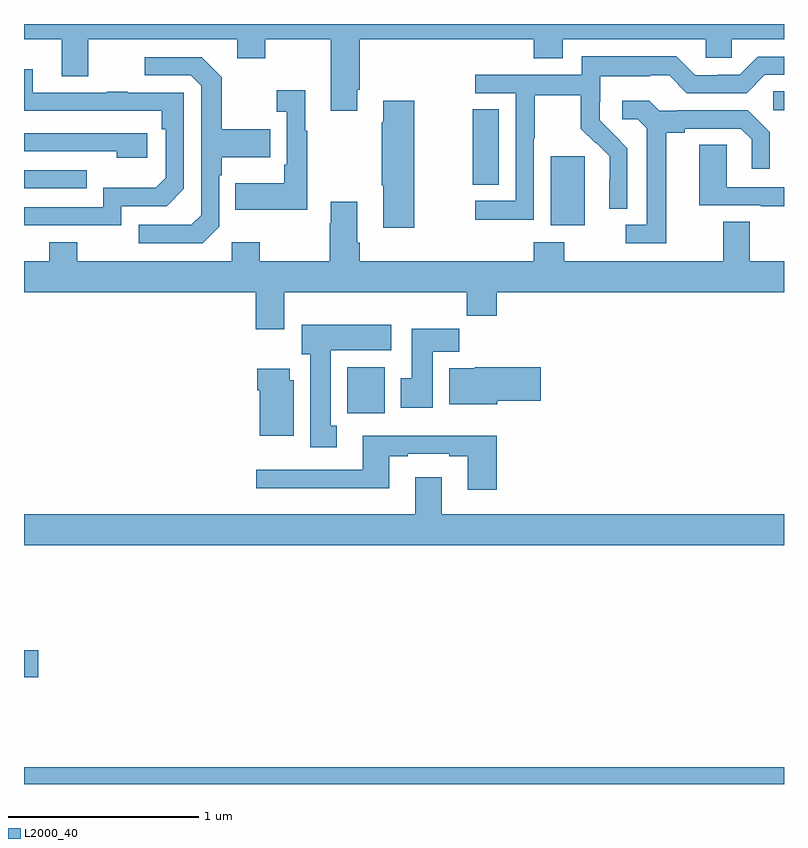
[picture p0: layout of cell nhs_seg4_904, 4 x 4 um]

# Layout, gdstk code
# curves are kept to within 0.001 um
import gdstk
lib = gdstk.Library(unit=1e-6, precision=1e-09)
def R(c, l, rs):  # rectangles x0, y0, x1, y1
    for r in rs: c.add(gdstk.rectangle(r[:2], r[2:], *l))
def P(c, l, *ps):  # polygons
    for p in ps: c.add(gdstk.Polygon(p, *l))
L2000_40 = (2000, 40)

nhs_seg4_904 = lib.new_cell('nhs_seg4_904')
R(nhs_seg4_904, L2000_40, [(157,792.9,161,792.988), (157,793.462,157.075,793.604), (158.702,794.852,158.899,795.094), (159.773,795.842,159.952,796.203), (157,796.035,157.331,796.131), (159.361,796.054,159.499,796.451), (160.944,796.446,161,796.547)])
P(nhs_seg4_904, L2000_40, [(158.755,796.555),(158.768,796.555),(158.768,796.82),(159.683,796.82),(159.683,796.721),(159.835,796.721),(159.835,796.82),(160.587,796.82),(160.587,796.722),(160.725,796.722),(160.725,796.82),(161,796.82),(161,796.9),(157,796.9),(157,796.82),(157.199,796.82),(157.199,796.626),(157.339,796.626),(157.339,796.82),(158.123,796.82),(158.123,796.721),(158.271,796.721),(158.271,796.82),(158.615,796.82),(158.615,796.443),(158.755,796.443)],
  [(159.684,796.3),(159.687,796.3),(159.687,796.524),(159.931,796.524),(159.931,796.349),(160.008,796.272),(160.011,796.275),(160.082,796.205),(160.082,796.082),(160.08,796.082),(160.08,795.928),(160.176,795.928),(160.176,796.246),(160.03,796.394),(160.03,796.491),(160.032,796.491),(160.032,796.625),(160.295,796.625),(160.295,796.629),(160.395,796.629),(160.488,796.536),(160.803,796.536),(160.899,796.632),(161,796.632),(161,796.728),(160.863,796.728),(160.767,796.632),(160.649,796.632),(160.649,796.629),(160.533,796.629),(160.433,796.729),(159.936,796.729),(159.936,796.632),(159.375,796.632),(159.375,796.536),(159.588,796.536),(159.588,795.969),(159.375,795.969),(159.375,795.871),(159.684,795.871)],
  [(158.028,795.834),(158.028,796.103),(158.041,796.103),(158.041,796.199),(158.297,796.199),(158.297,796.347),(158.041,796.347),(158.041,796.619),(157.935,796.725),(157.635,796.725),(157.635,796.629),(157.878,796.629),(157.932,796.575),(157.932,795.894),(157.881,795.843),(157.605,795.843),(157.605,795.747),(157.941,795.747)],
  [(157.512,795.942),(157.752,795.942),(157.842,796.032),(157.842,796.539),(157.547,796.539),(157.547,796.544),(157.435,796.544),(157.435,796.539),(157.045,796.539),(157.045,796.663),(157,796.663),(157,796.444),(157.726,796.443),(157.726,796.346),(157.746,796.346),(157.746,796.092),(157.693,796.039),(157.416,796.039),(157.416,795.936),(157,795.936),(157,795.84),(157.512,795.84)],
  [(158.491,796.339),(158.479,796.339),(158.479,796.552),(158.331,796.552),(158.331,796.439),(158.382,796.439),(158.382,796.159),(158.37,796.159),(158.37,796.063),(158.113,796.063),(158.113,795.923),(158.491,795.923)],
  [(160.381,796.328),(160.477,796.328),(160.477,796.35),(160.772,796.35),(160.829,796.293),(160.829,796.137),(160.926,796.137),(160.926,796.33),(160.81,796.446),(160.438,796.446),(160.438,796.443),(160.344,796.443),(160.292,796.495),(160.149,796.495),(160.149,796.398),(160.23,796.398),(160.277,796.351),(160.277,795.843),(160.167,795.843),(160.167,795.747),(160.381,795.747)],
  [(159.054,796.495),(158.891,796.495),(158.891,796.382),(158.884,796.382),(158.884,796.051),(158.891,796.051),(158.891,795.828),(159.054,795.828)],
  [(157.648,796.326),(157,796.326),(157,796.23),(157.487,796.23),(157.487,796.196),(157.648,796.196)],
  [(161,796.041),(160.698,796.041),(160.698,796.265),(160.553,796.265),(160.553,795.945),(160.877,795.945),(160.877,795.941),(161,795.941)],
  [(158.371,795.488),(159.331,795.488),(159.331,795.364),(159.488,795.364),(159.488,795.488),(161,795.488),(161,795.652),(160.819,795.652),(160.819,795.86),(160.679,795.86),(160.679,795.652),(159.843,795.652),(159.843,795.751),(159.683,795.751),(159.683,795.652),(158.768,795.652),(158.768,795.748),(158.755,795.748),(158.755,795.964),(158.615,795.964),(158.615,795.851),(158.608,795.851),(158.608,795.652),(158.241,795.652),(158.241,795.751),(158.094,795.751),(158.094,795.652),(157.281,795.652),(157.281,795.751),(157.133,795.751),(157.133,795.652),(157,795.652),(157,795.488),(158.219,795.488),(158.219,795.294),(158.371,795.294)],
  [(158.647,794.786),(158.614,794.786),(158.614,795.182),(158.932,795.182),(158.932,795.316),(158.462,795.316),(158.462,795.162),(158.507,795.162),(158.507,794.673),(158.647,794.673)],
  [(159.151,795.176),(159.29,795.176),(159.29,795.295),(159.041,795.295),(159.041,795.036),(158.984,795.036),(158.984,794.88),(159.151,794.88)],
  [(159.49,794.918),(159.721,794.918),(159.721,795.094),(159.372,795.094),(159.372,795.088),(159.239,795.088),(159.239,794.9),(159.49,794.9)],
  [(158.419,795.024),(158.398,795.024),(158.398,795.085),(158.228,795.085),(158.228,794.972),(158.24,794.972),(158.24,794.732),(158.419,794.732)],
  [(159.488,794.734),(158.783,794.734),(158.783,794.553),(158.223,794.553),(158.223,794.456),(158.923,794.456),(158.923,794.625),(159.019,794.625),(159.019,794.637),(159.239,794.637),(159.239,794.625),(159.335,794.625),(159.335,794.448),(159.488,794.448)],
  [(161,794.32),(159.199,794.32),(159.199,794.515),(159.059,794.515),(159.059,794.32),(157,794.32),(157,794.156),(161,794.156)])

lib.write_gds('nhs_seg4_904.gds')
